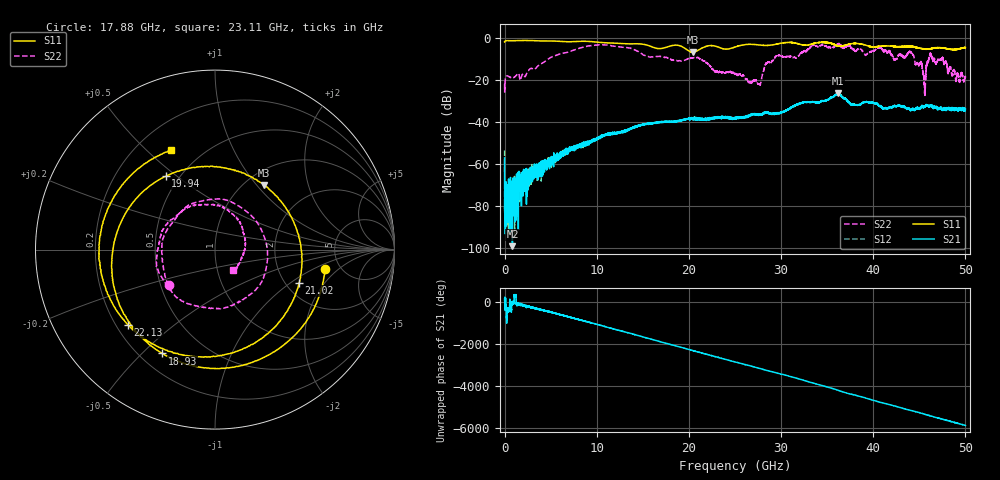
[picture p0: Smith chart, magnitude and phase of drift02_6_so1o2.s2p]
!Created with skrf (http://scikit-rf.org).
# Hz S RI R 50.0
!freq ReS11 ImS11 ReS21 ImS21 ReS12 ImS12 ReS22 ImS22
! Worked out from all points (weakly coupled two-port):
!   10001 points, 300 kHz to 50 GHz, reference 50 ohm
!   highest |S21| = -26.29 dB at 36.14 GHz (marker M1); lowest = -99.2 dB at 845.3 MHz (marker M2)
!   lowest |S11| = -6.9 dB at 20.44 GHz (marker M3), VSWR 2.64, Z = 60.2 + j54.3 ohm
!   |S11| at or under -10 dB: nowhere
!   |S22| runs from -27.5 to -2.7 dB; largest |S21 - S12| = 0.0053
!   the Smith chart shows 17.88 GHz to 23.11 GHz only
!   S11 on the Smith chart (normalised r, x): 17.88 GHz: 3.80, -1.34; 18.93 GHz: 0.29, -0.58; 19.94 GHz: 0.42, +0.46; 21.02 GHz: 2.35, -1.17; 22.13 GHz: 0.25, -0.35; 23.11 GHz: 0.34, +0.60
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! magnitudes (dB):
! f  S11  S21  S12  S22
! 300 kHz  -2.1  -57.2  -53.6  -22.0
! 255.3 MHz  -1.4  -86.0  -71.8  -18.2
! 845.3 MHz  -1.5  -99.2  -70.9  -19.1
! 8.335 GHz  -1.7  -50.8  -51.1  -4.8
! 16.67 GHz  -5.2  -40.2  -40.2  -8.9
! 17.88 GHz  -4.1  -40.0  -40.0  -9.8
! 18.93 GHz  -3.8  -39.6  -39.7  -10.9
! 19.94 GHz  -6.2  -38.5  -38.5  -10.0
! 20.44 GHz  -6.9  -38.9  -39.2  -9.7
! 21.02 GHz  -6.0  -38.7  -38.4  -9.5
! 22.13 GHz  -3.9  -38.9  -38.7  -12.7
! 23.11 GHz  -4.4  -38.2  -38.0  -16.4
! 25 GHz  -4.5  -38.3  -38.3  -17.3
! 27.6 GHz  -3.5  -36.3  -36.7  -22.1
! 28.5 GHz  -3.7  -35.5  -35.7  -12.1
! 33.34 GHz  -3.0  -30.6  -30.6  -3.8
! 36.14 GHz  -3.9  -26.3  -27.0  -3.1
! 41.67 GHz  -3.9  -33.3  -33.4  -6.3
! 44.12 GHz  -4.1  -34.6  -34.4  -7.3
! 45.52 GHz  -5.4  -32.9  -32.9  -20.7
! 46.25 GHz  -5.2  -32.6  -32.1  -7.9
! 50 GHz  -4.7  -33.9  -34.1  -18.9
